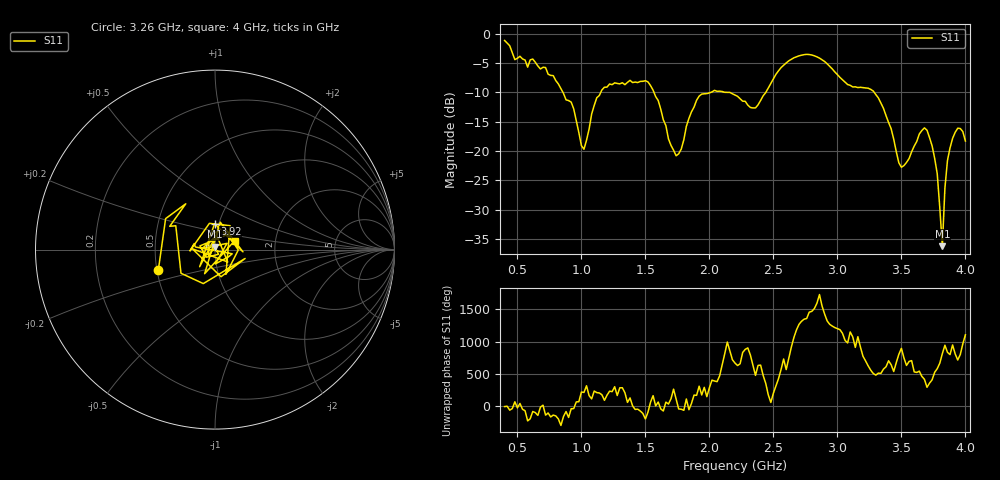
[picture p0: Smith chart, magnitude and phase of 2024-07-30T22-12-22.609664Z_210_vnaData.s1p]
!Created with skrf (http://scikit-rf.org).
# Hz S RI R 50.0
!freq ReS11 ImS11
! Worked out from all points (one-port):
!   181 points, 400 MHz to 4 GHz, reference 50 ohm
!   lowest |S11| = -36.2 dB at 3.82 GHz (marker M1), VSWR 1.03, Z = 49.9 + j1.54 ohm
!   |S11| at or under -10 dB: 1.567 GHz to 2.012 GHz (444.8 MHz wide, 24.9 % of centre); 2.129 GHz to 2.441 GHz (311.6 MHz wide, 13.6 % of centre); 3.288 GHz to end of sweep (the widest 3 of 4)
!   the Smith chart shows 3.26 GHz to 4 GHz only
!   S11 on the Smith chart (normalised r, x): 3.26 GHz: 0.51, -0.13; 3.92 GHz: 0.95, +0.28; 4 GHz: 1.24, +0.13
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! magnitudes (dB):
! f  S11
! 400 MHz  -1.2
! 480 MHz  -4.4
! 720 MHz  -5.8
! 860 MHz  -10.2
! 940 MHz  -12.8
! 1.02 GHz  -19.7
! 1.12 GHz  -10.9
! 1.3 GHz  -8.6
! 1.52 GHz  -8.2
! 1.7 GHz  -19.0
! 1.76 GHz  -20.5
! 1.92 GHz  -10.6
! 2.2 GHz  -10.5
! 2.36 GHz  -12.6
! 2.66 GHz  -4.1
! 2.84 GHz  -3.9
! 3.1 GHz  -8.8
! 3.26 GHz  -9.5
! 3.36 GHz  -12.7
! 3.48 GHz  -22.0
! 3.56 GHz  -21.3
! 3.7 GHz  -16.5
! 3.78 GHz  -23.9
! 3.82 GHz  -36.2
! 3.84 GHz  -26.3
! 3.86 GHz  -21.6
! 3.92 GHz  -16.8
! 4 GHz  -18.3
